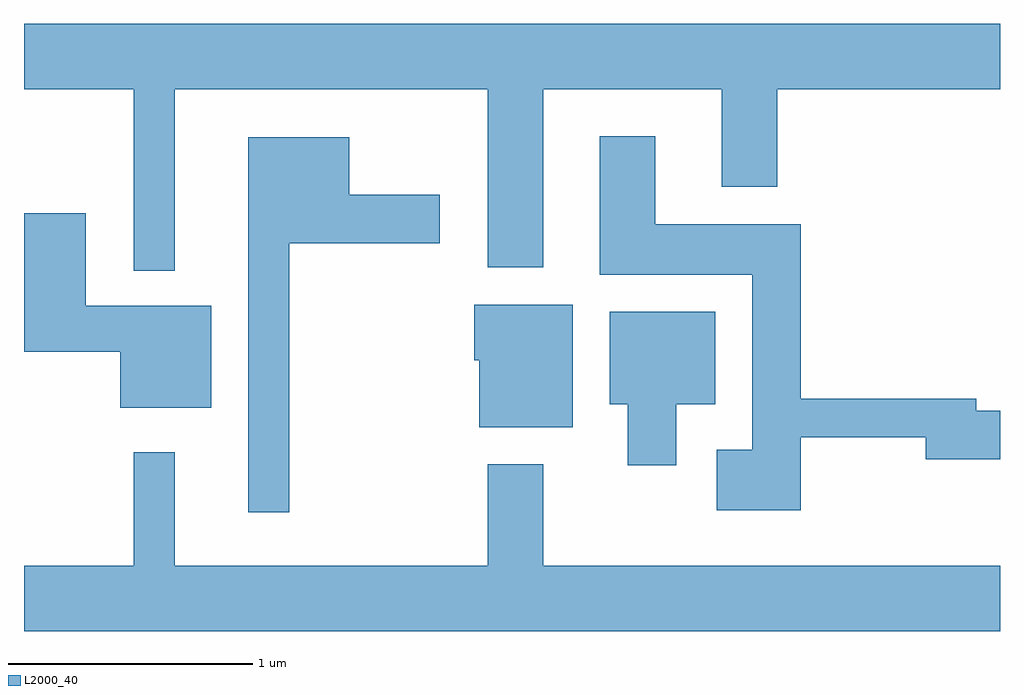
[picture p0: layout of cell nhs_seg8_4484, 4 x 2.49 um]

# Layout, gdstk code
import gdstk
lib = gdstk.Library(unit=1e-6, precision=1e-09)
def P(c, l, *ps):  # polygons
    for p in ps: c.add(gdstk.Polygon(p, *l))
L2000_40 = (2000, 40)

nhs_seg8_4484 = lib.new_cell('nhs_seg8_4484')
P(nhs_seg8_4484, L2000_40, [(320.229,1865.276),(321.511,1865.276),(321.511,1864.546),(321.739,1864.546),(321.739,1865.276),(322.471,1865.276),(322.471,1864.876),(322.699,1864.876),(322.699,1865.276),(323.611,1865.276),(323.611,1865.544),(319.611,1865.544),(319.611,1865.276),(320.061,1865.276),(320.061,1864.533),(320.229,1864.533)],
  [(322.794,1863.851),(323.306,1863.851),(323.306,1863.761),(323.611,1863.761),(323.611,1863.959),(323.514,1863.959),(323.514,1864.009),(322.794,1864.009),(322.794,1864.724),(322.199,1864.724),(322.199,1865.084),(321.971,1865.084),(321.971,1864.516),(322.596,1864.516),(322.596,1863.799),(322.451,1863.799),(322.451,1863.551),(322.794,1863.551)],
  [(320.699,1864.646),(321.314,1864.646),(321.314,1864.844),(320.944,1864.844),(320.944,1865.079),(320.531,1865.079),(320.531,1863.543),(320.699,1863.543)],
  [(320.379,1864.389),(319.864,1864.389),(319.864,1864.769),(319.611,1864.769),(319.611,1864.201),(320.006,1864.201),(320.006,1863.971),(320.379,1863.971)],
  [(321.859,1864.394),(321.456,1864.394),(321.456,1864.166),(321.476,1864.166),(321.476,1863.891),(321.859,1863.891)],
  [(322.284,1863.986),(322.444,1863.986),(322.444,1864.364),(322.011,1864.364),(322.011,1863.986),(322.086,1863.986),(322.086,1863.736),(322.284,1863.736)],
  [(323.611,1863.324),(321.739,1863.324),(321.739,1863.739),(321.511,1863.739),(321.511,1863.324),(320.229,1863.324),(320.229,1863.788),(320.061,1863.788),(320.061,1863.324),(319.611,1863.324),(319.611,1863.056),(323.611,1863.056)])

lib.write_gds('nhs_seg8_4484.gds')
